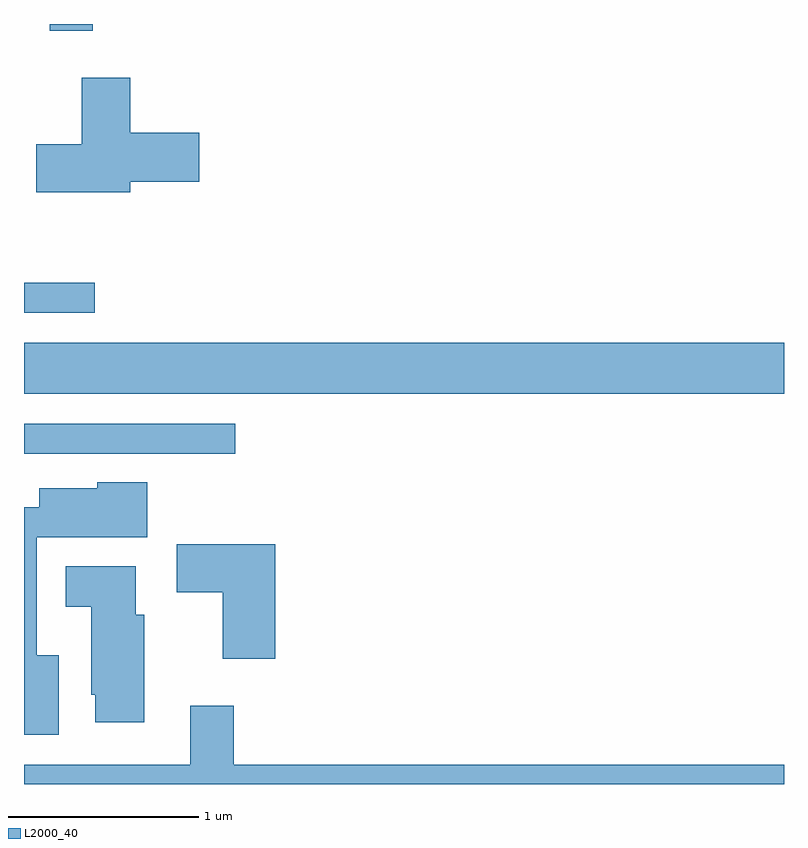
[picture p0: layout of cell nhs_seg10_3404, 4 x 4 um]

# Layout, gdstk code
import gdstk
lib = gdstk.Library(unit=1e-6, precision=1e-09)
def R(c, l, rs):  # rectangles x0, y0, x1, y1
    for r in rs: c.add(gdstk.rectangle(r[:2], r[2:], *l))
def P(c, l, *ps):  # polygons
    for p in ps: c.add(gdstk.Polygon(p, *l))
L2000_40 = (2000, 40)

nhs_seg10_3404 = lib.new_cell('nhs_seg10_3404')
R(nhs_seg10_3404, L2000_40, [(285.611,2120.261,286.723,2120.419), (285.611,2120.576,289.611,2120.844), (285.611,2121.001,285.983,2121.159), (285.746,2122.486,285.974,2122.522)])
P(nhs_seg10_3404, L2000_40, [(286.169,2121.691),(286.534,2121.691),(286.534,2121.949),(286.169,2121.949),(286.169,2122.239),(285.916,2122.239),(285.916,2121.889),(285.676,2121.889),(285.676,2121.636),(286.169,2121.636)],
  [(285.794,2119.199),(285.679,2119.199),(285.679,2119.821),(286.259,2119.821),(286.259,2120.109),(285.996,2120.109),(285.996,2120.079),(285.691,2120.079),(285.691,2119.979),(285.611,2119.979),(285.611,2118.781),(285.794,2118.781)],
  [(286.934,2119.784),(286.416,2119.784),(286.416,2119.531),(286.656,2119.531),(286.656,2119.181),(286.934,2119.181)],
  [(286.244,2119.414),(286.199,2119.414),(286.199,2119.669),(285.831,2119.669),(285.831,2119.456),(285.966,2119.456),(285.966,2118.991),(285.986,2118.991),(285.986,2118.846),(286.244,2118.846)],
  [(289.611,2118.624),(286.714,2118.624),(286.714,2118.934),(286.486,2118.934),(286.486,2118.624),(285.611,2118.624),(285.611,2118.522),(289.611,2118.522)])

lib.write_gds('nhs_seg10_3404.gds')
